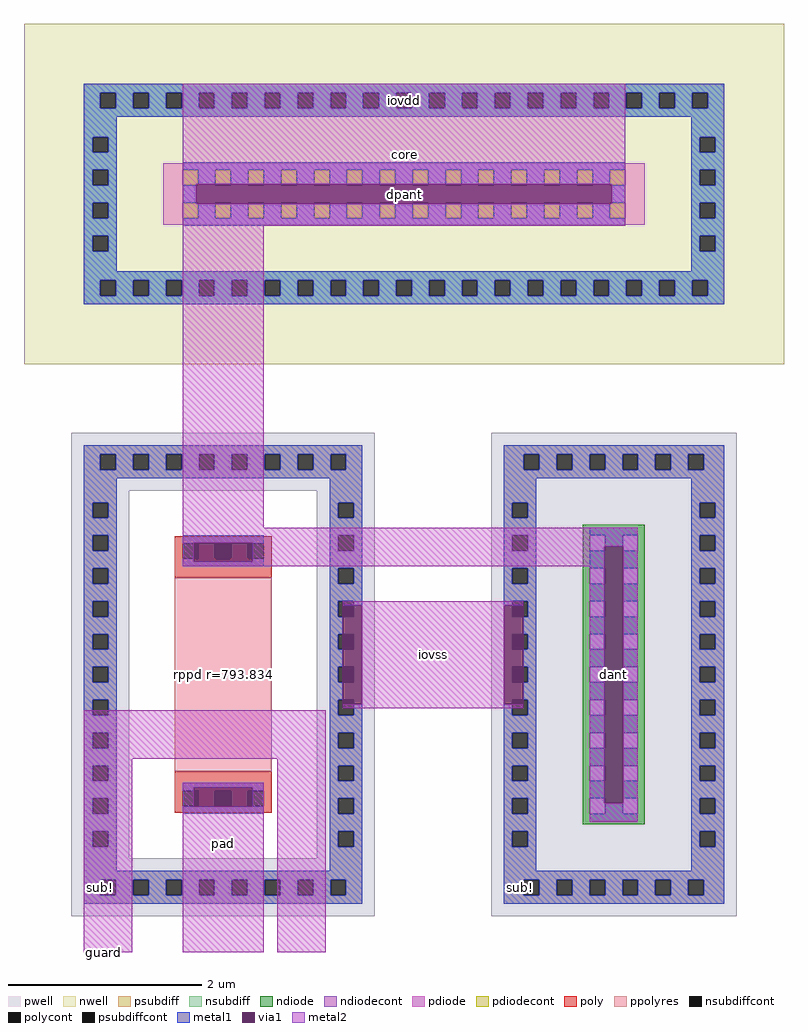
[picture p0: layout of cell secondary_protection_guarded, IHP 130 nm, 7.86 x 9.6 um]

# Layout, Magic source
magic
tech ihp-sg13g2
magscale 1 2
<< nwell >>
rect -124 1116 1448 1820
<< pwell >>
rect -26 854 602 974
rect -26 94 94 854
rect 482 94 602 854
rect -26 -26 602 94
rect 842 -26 1350 974
<< psubdiff >>
rect 0 930 576 948
rect 0 898 34 930
rect 66 898 102 930
rect 134 898 170 930
rect 202 898 238 930
rect 270 898 306 930
rect 338 898 374 930
rect 406 898 442 930
rect 474 898 510 930
rect 542 898 576 930
rect 0 880 576 898
rect 0 830 68 880
rect 0 798 18 830
rect 50 798 68 830
rect 0 762 68 798
rect 0 730 18 762
rect 50 730 68 762
rect 508 830 576 880
rect 508 798 526 830
rect 558 798 576 830
rect 508 762 576 798
rect 0 694 68 730
rect 0 662 18 694
rect 50 662 68 694
rect 0 626 68 662
rect 0 594 18 626
rect 50 594 68 626
rect 0 558 68 594
rect 0 526 18 558
rect 50 526 68 558
rect 0 490 68 526
rect 0 458 18 490
rect 50 458 68 490
rect 0 422 68 458
rect 0 390 18 422
rect 50 390 68 422
rect 0 354 68 390
rect 0 322 18 354
rect 50 322 68 354
rect 0 286 68 322
rect 0 254 18 286
rect 50 254 68 286
rect 0 218 68 254
rect 0 186 18 218
rect 50 186 68 218
rect 508 730 526 762
rect 558 730 576 762
rect 508 694 576 730
rect 508 662 526 694
rect 558 662 576 694
rect 508 626 576 662
rect 508 594 526 626
rect 558 594 576 626
rect 508 558 576 594
rect 508 526 526 558
rect 558 526 576 558
rect 508 490 576 526
rect 508 458 526 490
rect 558 458 576 490
rect 508 422 576 458
rect 508 390 526 422
rect 558 390 576 422
rect 508 354 576 390
rect 508 322 526 354
rect 558 322 576 354
rect 508 286 576 322
rect 508 254 526 286
rect 558 254 576 286
rect 508 218 576 254
rect 0 150 68 186
rect 0 118 18 150
rect 50 118 68 150
rect 0 68 68 118
rect 508 186 526 218
rect 558 186 576 218
rect 508 150 576 186
rect 508 118 526 150
rect 558 118 576 150
rect 508 68 576 118
rect 0 50 576 68
rect 0 18 34 50
rect 66 18 102 50
rect 134 18 170 50
rect 202 18 238 50
rect 270 18 306 50
rect 338 18 374 50
rect 406 18 442 50
rect 474 18 510 50
rect 542 18 576 50
rect 0 0 576 18
rect 868 930 1324 948
rect 868 898 910 930
rect 942 898 978 930
rect 1010 898 1046 930
rect 1078 898 1114 930
rect 1146 898 1182 930
rect 1214 898 1250 930
rect 1282 898 1324 930
rect 868 880 1324 898
rect 868 830 936 880
rect 868 798 886 830
rect 918 798 936 830
rect 868 762 936 798
rect 1256 830 1324 880
rect 1256 798 1274 830
rect 1306 798 1324 830
rect 868 730 886 762
rect 918 730 936 762
rect 868 694 936 730
rect 868 662 886 694
rect 918 662 936 694
rect 868 626 936 662
rect 868 594 886 626
rect 918 594 936 626
rect 868 558 936 594
rect 868 526 886 558
rect 918 526 936 558
rect 868 490 936 526
rect 868 458 886 490
rect 918 458 936 490
rect 868 422 936 458
rect 868 390 886 422
rect 918 390 936 422
rect 868 354 936 390
rect 868 322 886 354
rect 918 322 936 354
rect 868 286 936 322
rect 868 254 886 286
rect 918 254 936 286
rect 868 218 936 254
rect 868 186 886 218
rect 918 186 936 218
rect 868 150 936 186
rect 1256 762 1324 798
rect 1256 730 1274 762
rect 1306 730 1324 762
rect 1256 694 1324 730
rect 1256 662 1274 694
rect 1306 662 1324 694
rect 1256 626 1324 662
rect 1256 594 1274 626
rect 1306 594 1324 626
rect 1256 558 1324 594
rect 1256 526 1274 558
rect 1306 526 1324 558
rect 1256 490 1324 526
rect 1256 458 1274 490
rect 1306 458 1324 490
rect 1256 422 1324 458
rect 1256 390 1274 422
rect 1306 390 1324 422
rect 1256 354 1324 390
rect 1256 322 1274 354
rect 1306 322 1324 354
rect 1256 286 1324 322
rect 1256 254 1274 286
rect 1306 254 1324 286
rect 1256 218 1324 254
rect 1256 186 1274 218
rect 1306 186 1324 218
rect 868 118 886 150
rect 918 118 936 150
rect 868 68 936 118
rect 1256 150 1324 186
rect 1256 118 1274 150
rect 1306 118 1324 150
rect 1256 68 1324 118
rect 868 50 1324 68
rect 868 18 910 50
rect 942 18 978 50
rect 1010 18 1046 50
rect 1078 18 1114 50
rect 1146 18 1182 50
rect 1214 18 1250 50
rect 1282 18 1324 50
rect 868 0 1324 18
<< nsubdiff >>
rect 0 1678 1324 1696
rect 0 1646 34 1678
rect 66 1646 102 1678
rect 134 1646 170 1678
rect 202 1646 238 1678
rect 270 1646 306 1678
rect 338 1646 374 1678
rect 406 1646 442 1678
rect 474 1646 510 1678
rect 542 1646 578 1678
rect 610 1646 646 1678
rect 678 1646 714 1678
rect 746 1646 782 1678
rect 814 1646 850 1678
rect 882 1646 918 1678
rect 950 1646 986 1678
rect 1018 1646 1054 1678
rect 1086 1646 1122 1678
rect 1154 1646 1190 1678
rect 1222 1646 1258 1678
rect 1290 1646 1324 1678
rect 0 1628 1324 1646
rect 0 1586 68 1628
rect 0 1554 18 1586
rect 50 1554 68 1586
rect 0 1518 68 1554
rect 1256 1586 1324 1628
rect 1256 1554 1274 1586
rect 1306 1554 1324 1586
rect 0 1486 18 1518
rect 50 1486 68 1518
rect 0 1450 68 1486
rect 0 1418 18 1450
rect 50 1418 68 1450
rect 0 1382 68 1418
rect 1256 1518 1324 1554
rect 1256 1486 1274 1518
rect 1306 1486 1324 1518
rect 1256 1450 1324 1486
rect 1256 1418 1274 1450
rect 1306 1418 1324 1450
rect 0 1350 18 1382
rect 50 1350 68 1382
rect 0 1308 68 1350
rect 1256 1382 1324 1418
rect 1256 1350 1274 1382
rect 1306 1350 1324 1382
rect 1256 1308 1324 1350
rect 0 1290 1324 1308
rect 0 1258 34 1290
rect 66 1258 102 1290
rect 134 1258 170 1290
rect 202 1258 238 1290
rect 270 1258 306 1290
rect 338 1258 374 1290
rect 406 1258 442 1290
rect 474 1258 510 1290
rect 542 1258 578 1290
rect 610 1258 646 1290
rect 678 1258 714 1290
rect 746 1258 782 1290
rect 814 1258 850 1290
rect 882 1258 918 1290
rect 950 1258 986 1290
rect 1018 1258 1054 1290
rect 1086 1258 1122 1290
rect 1154 1258 1190 1290
rect 1222 1258 1258 1290
rect 1290 1258 1324 1290
rect 0 1240 1324 1258
<< psubdiffcont >>
rect 34 898 66 930
rect 102 898 134 930
rect 170 898 202 930
rect 238 898 270 930
rect 306 898 338 930
rect 374 898 406 930
rect 442 898 474 930
rect 510 898 542 930
rect 18 798 50 830
rect 18 730 50 762
rect 526 798 558 830
rect 18 662 50 694
rect 18 594 50 626
rect 18 526 50 558
rect 18 458 50 490
rect 18 390 50 422
rect 18 322 50 354
rect 18 254 50 286
rect 18 186 50 218
rect 526 730 558 762
rect 526 662 558 694
rect 526 594 558 626
rect 526 526 558 558
rect 526 458 558 490
rect 526 390 558 422
rect 526 322 558 354
rect 526 254 558 286
rect 18 118 50 150
rect 526 186 558 218
rect 526 118 558 150
rect 34 18 66 50
rect 102 18 134 50
rect 170 18 202 50
rect 238 18 270 50
rect 306 18 338 50
rect 374 18 406 50
rect 442 18 474 50
rect 510 18 542 50
rect 910 898 942 930
rect 978 898 1010 930
rect 1046 898 1078 930
rect 1114 898 1146 930
rect 1182 898 1214 930
rect 1250 898 1282 930
rect 886 798 918 830
rect 1274 798 1306 830
rect 886 730 918 762
rect 886 662 918 694
rect 886 594 918 626
rect 886 526 918 558
rect 886 458 918 490
rect 886 390 918 422
rect 886 322 918 354
rect 886 254 918 286
rect 886 186 918 218
rect 1274 730 1306 762
rect 1274 662 1306 694
rect 1274 594 1306 626
rect 1274 526 1306 558
rect 1274 458 1306 490
rect 1274 390 1306 422
rect 1274 322 1306 354
rect 1274 254 1306 286
rect 1274 186 1306 218
rect 886 118 918 150
rect 1274 118 1306 150
rect 910 18 942 50
rect 978 18 1010 50
rect 1046 18 1078 50
rect 1114 18 1146 50
rect 1182 18 1214 50
rect 1250 18 1282 50
<< nsubdiffcont >>
rect 34 1646 66 1678
rect 102 1646 134 1678
rect 170 1646 202 1678
rect 238 1646 270 1678
rect 306 1646 338 1678
rect 374 1646 406 1678
rect 442 1646 474 1678
rect 510 1646 542 1678
rect 578 1646 610 1678
rect 646 1646 678 1678
rect 714 1646 746 1678
rect 782 1646 814 1678
rect 850 1646 882 1678
rect 918 1646 950 1678
rect 986 1646 1018 1678
rect 1054 1646 1086 1678
rect 1122 1646 1154 1678
rect 1190 1646 1222 1678
rect 1258 1646 1290 1678
rect 18 1554 50 1586
rect 1274 1554 1306 1586
rect 18 1486 50 1518
rect 18 1418 50 1450
rect 1274 1486 1306 1518
rect 1274 1418 1306 1450
rect 18 1350 50 1382
rect 1274 1350 1306 1382
rect 34 1258 66 1290
rect 102 1258 134 1290
rect 170 1258 202 1290
rect 238 1258 270 1290
rect 306 1258 338 1290
rect 374 1258 406 1290
rect 442 1258 474 1290
rect 510 1258 542 1290
rect 578 1258 610 1290
rect 646 1258 678 1290
rect 714 1258 746 1290
rect 782 1258 814 1290
rect 850 1258 882 1290
rect 918 1258 950 1290
rect 986 1258 1018 1290
rect 1054 1258 1086 1290
rect 1122 1258 1154 1290
rect 1190 1258 1222 1290
rect 1258 1258 1290 1290
<< poly >>
rect 188 746 388 760
rect 188 714 204 746
rect 236 714 272 746
rect 304 714 340 746
rect 372 714 388 746
rect 188 674 388 714
rect 188 234 388 274
rect 188 202 204 234
rect 236 202 272 234
rect 304 202 340 234
rect 372 202 388 234
rect 188 188 388 202
<< polycont >>
rect 204 714 236 746
rect 272 714 304 746
rect 340 714 372 746
rect 204 202 236 234
rect 272 202 304 234
rect 340 202 372 234
<< ppolyres >>
rect 188 274 388 674
<< pdiode >>
rect 164 1518 1160 1532
rect 164 1486 204 1518
rect 236 1486 272 1518
rect 304 1486 340 1518
rect 372 1486 408 1518
rect 440 1486 476 1518
rect 508 1486 544 1518
rect 576 1486 612 1518
rect 644 1486 680 1518
rect 712 1486 748 1518
rect 780 1486 816 1518
rect 848 1486 884 1518
rect 916 1486 952 1518
rect 984 1486 1020 1518
rect 1052 1486 1088 1518
rect 1120 1486 1160 1518
rect 164 1450 1160 1486
rect 164 1418 204 1450
rect 236 1418 272 1450
rect 304 1418 340 1450
rect 372 1418 408 1450
rect 440 1418 476 1450
rect 508 1418 544 1450
rect 576 1418 612 1450
rect 644 1418 680 1450
rect 712 1418 748 1450
rect 780 1418 816 1450
rect 848 1418 884 1450
rect 916 1418 952 1450
rect 984 1418 1020 1450
rect 1052 1418 1088 1450
rect 1120 1418 1160 1450
rect 164 1404 1160 1418
<< ndiode >>
rect 1032 762 1160 784
rect 1032 730 1046 762
rect 1078 730 1114 762
rect 1146 730 1160 762
rect 1032 694 1160 730
rect 1032 662 1046 694
rect 1078 662 1114 694
rect 1146 662 1160 694
rect 1032 626 1160 662
rect 1032 594 1046 626
rect 1078 594 1114 626
rect 1146 594 1160 626
rect 1032 558 1160 594
rect 1032 526 1046 558
rect 1078 526 1114 558
rect 1146 526 1160 558
rect 1032 490 1160 526
rect 1032 458 1046 490
rect 1078 458 1114 490
rect 1146 458 1160 490
rect 1032 422 1160 458
rect 1032 390 1046 422
rect 1078 390 1114 422
rect 1146 390 1160 422
rect 1032 354 1160 390
rect 1032 322 1046 354
rect 1078 322 1114 354
rect 1146 322 1160 354
rect 1032 286 1160 322
rect 1032 254 1046 286
rect 1078 254 1114 286
rect 1146 254 1160 286
rect 1032 218 1160 254
rect 1032 186 1046 218
rect 1078 186 1114 218
rect 1146 186 1160 218
rect 1032 164 1160 186
<< pdiodecont >>
rect 204 1486 236 1518
rect 272 1486 304 1518
rect 340 1486 372 1518
rect 408 1486 440 1518
rect 476 1486 508 1518
rect 544 1486 576 1518
rect 612 1486 644 1518
rect 680 1486 712 1518
rect 748 1486 780 1518
rect 816 1486 848 1518
rect 884 1486 916 1518
rect 952 1486 984 1518
rect 1020 1486 1052 1518
rect 1088 1486 1120 1518
rect 204 1418 236 1450
rect 272 1418 304 1450
rect 340 1418 372 1450
rect 408 1418 440 1450
rect 476 1418 508 1450
rect 544 1418 576 1450
rect 612 1418 644 1450
rect 680 1418 712 1450
rect 748 1418 780 1450
rect 816 1418 848 1450
rect 884 1418 916 1450
rect 952 1418 984 1450
rect 1020 1418 1052 1450
rect 1088 1418 1120 1450
<< ndiodecont >>
rect 1046 730 1078 762
rect 1114 730 1146 762
rect 1046 662 1078 694
rect 1114 662 1146 694
rect 1046 594 1078 626
rect 1114 594 1146 626
rect 1046 526 1078 558
rect 1114 526 1146 558
rect 1046 458 1078 490
rect 1114 458 1146 490
rect 1046 390 1078 422
rect 1114 390 1146 422
rect 1046 322 1078 354
rect 1114 322 1146 354
rect 1046 254 1078 286
rect 1114 254 1146 286
rect 1046 186 1078 218
rect 1114 186 1146 218
<< metal1 >>
rect 0 1678 1324 1696
rect 0 1646 34 1678
rect 66 1646 102 1678
rect 134 1646 170 1678
rect 202 1646 238 1678
rect 270 1646 306 1678
rect 338 1646 374 1678
rect 406 1646 442 1678
rect 474 1646 510 1678
rect 542 1646 578 1678
rect 610 1646 646 1678
rect 678 1646 714 1678
rect 746 1646 782 1678
rect 814 1646 850 1678
rect 882 1646 918 1678
rect 950 1646 986 1678
rect 1018 1646 1054 1678
rect 1086 1646 1122 1678
rect 1154 1646 1190 1678
rect 1222 1646 1258 1678
rect 1290 1646 1324 1678
rect 0 1628 1324 1646
rect 0 1586 68 1628
rect 0 1554 18 1586
rect 50 1554 68 1586
rect 0 1518 68 1554
rect 1256 1586 1324 1628
rect 1256 1554 1274 1586
rect 1306 1554 1324 1586
rect 0 1486 18 1518
rect 50 1486 68 1518
rect 0 1450 68 1486
rect 0 1418 18 1450
rect 50 1418 68 1450
rect 0 1382 68 1418
rect 204 1518 1120 1534
rect 236 1488 272 1518
rect 304 1488 340 1518
rect 372 1488 408 1518
rect 440 1488 476 1518
rect 508 1488 544 1518
rect 576 1488 612 1518
rect 644 1488 680 1518
rect 712 1488 748 1518
rect 780 1488 816 1518
rect 848 1488 884 1518
rect 916 1488 952 1518
rect 984 1488 1020 1518
rect 1052 1488 1088 1518
rect 204 1450 232 1486
rect 1092 1450 1120 1486
rect 236 1418 272 1448
rect 304 1418 340 1448
rect 372 1418 408 1448
rect 440 1418 476 1448
rect 508 1418 544 1448
rect 576 1418 612 1448
rect 644 1418 680 1448
rect 712 1418 748 1448
rect 780 1418 816 1448
rect 848 1418 884 1448
rect 916 1418 952 1448
rect 984 1418 1020 1448
rect 1052 1418 1088 1448
rect 204 1402 1120 1418
rect 1256 1518 1324 1554
rect 1256 1486 1274 1518
rect 1306 1486 1324 1518
rect 1256 1450 1324 1486
rect 1256 1418 1274 1450
rect 1306 1418 1324 1450
rect 0 1350 18 1382
rect 50 1350 68 1382
rect 0 1308 68 1350
rect 1256 1382 1324 1418
rect 1256 1350 1274 1382
rect 1306 1350 1324 1382
rect 1256 1308 1324 1350
rect 0 1290 1324 1308
rect 0 1258 34 1290
rect 66 1258 102 1290
rect 134 1258 170 1290
rect 202 1258 238 1290
rect 270 1258 306 1290
rect 338 1258 374 1290
rect 406 1258 442 1290
rect 474 1258 510 1290
rect 542 1258 578 1290
rect 610 1258 646 1290
rect 678 1258 714 1290
rect 746 1258 782 1290
rect 814 1258 850 1290
rect 882 1258 918 1290
rect 950 1258 986 1290
rect 1018 1258 1054 1290
rect 1086 1258 1122 1290
rect 1154 1258 1190 1290
rect 1222 1258 1258 1290
rect 1290 1258 1324 1290
rect 0 1240 1324 1258
rect 0 930 576 948
rect 0 898 34 930
rect 66 898 102 930
rect 134 898 170 930
rect 202 898 238 930
rect 270 898 306 930
rect 338 898 374 930
rect 406 898 442 930
rect 474 898 510 930
rect 542 898 576 930
rect 0 880 576 898
rect 0 830 68 880
rect 0 798 18 830
rect 50 798 68 830
rect 0 762 68 798
rect 508 830 576 880
rect 508 798 526 830
rect 558 798 576 830
rect 508 762 576 798
rect 0 730 18 762
rect 50 730 68 762
rect 0 694 68 730
rect 204 747 372 762
rect 204 746 227 747
rect 349 746 372 747
rect 204 707 227 714
rect 349 707 372 714
rect 204 698 372 707
rect 508 730 526 762
rect 558 730 576 762
rect 0 662 18 694
rect 50 662 68 694
rect 0 626 68 662
rect 0 594 18 626
rect 50 594 68 626
rect 0 558 68 594
rect 0 526 18 558
rect 50 526 68 558
rect 0 490 68 526
rect 0 458 18 490
rect 50 458 68 490
rect 0 422 68 458
rect 0 390 18 422
rect 50 390 68 422
rect 0 354 68 390
rect 0 322 18 354
rect 50 322 68 354
rect 0 286 68 322
rect 0 254 18 286
rect 50 254 68 286
rect 0 218 68 254
rect 508 694 576 730
rect 508 662 526 694
rect 558 662 576 694
rect 508 626 576 662
rect 508 594 526 626
rect 558 617 576 626
rect 508 558 535 594
rect 508 526 526 558
rect 508 490 535 526
rect 508 458 526 490
rect 508 422 535 458
rect 508 390 526 422
rect 575 413 576 617
rect 558 390 576 413
rect 508 354 576 390
rect 508 322 526 354
rect 558 322 576 354
rect 508 286 576 322
rect 508 254 526 286
rect 558 254 576 286
rect 0 186 18 218
rect 50 186 68 218
rect 204 241 372 250
rect 204 234 227 241
rect 349 234 372 241
rect 204 201 227 202
rect 349 201 372 202
rect 204 186 372 201
rect 508 218 576 254
rect 508 186 526 218
rect 558 186 576 218
rect 0 150 68 186
rect 0 118 18 150
rect 50 118 68 150
rect 0 68 68 118
rect 508 150 576 186
rect 508 118 526 150
rect 558 118 576 150
rect 508 68 576 118
rect 0 50 576 68
rect 0 18 34 50
rect 66 18 102 50
rect 134 18 170 50
rect 202 18 238 50
rect 270 18 306 50
rect 338 18 374 50
rect 406 18 442 50
rect 474 18 510 50
rect 542 18 576 50
rect 0 0 576 18
rect 868 930 1324 948
rect 868 898 910 930
rect 942 898 978 930
rect 1010 898 1046 930
rect 1078 898 1114 930
rect 1146 898 1182 930
rect 1214 898 1250 930
rect 1282 898 1324 930
rect 868 880 1324 898
rect 868 830 936 880
rect 868 798 886 830
rect 918 798 936 830
rect 868 762 936 798
rect 1256 830 1324 880
rect 1256 798 1274 830
rect 1306 798 1324 830
rect 868 730 886 762
rect 918 730 936 762
rect 868 694 936 730
rect 868 662 886 694
rect 918 662 936 694
rect 868 626 936 662
rect 868 617 886 626
rect 868 413 869 617
rect 918 594 936 626
rect 909 558 936 594
rect 918 526 936 558
rect 909 490 936 526
rect 918 458 936 490
rect 909 422 936 458
rect 868 390 886 413
rect 918 390 936 422
rect 868 354 936 390
rect 868 322 886 354
rect 918 322 936 354
rect 868 286 936 322
rect 868 254 886 286
rect 918 254 936 286
rect 868 218 936 254
rect 868 186 886 218
rect 918 186 936 218
rect 868 150 936 186
rect 1046 762 1146 778
rect 1078 740 1114 762
rect 1046 694 1076 730
rect 1116 694 1146 730
rect 1046 626 1076 662
rect 1116 626 1146 662
rect 1046 558 1076 594
rect 1116 558 1146 594
rect 1046 490 1076 526
rect 1116 490 1146 526
rect 1046 422 1076 458
rect 1116 422 1146 458
rect 1046 354 1076 390
rect 1116 354 1146 390
rect 1046 286 1076 322
rect 1116 286 1146 322
rect 1046 218 1076 254
rect 1116 218 1146 254
rect 1078 186 1114 208
rect 1046 170 1146 186
rect 1256 762 1324 798
rect 1256 730 1274 762
rect 1306 730 1324 762
rect 1256 694 1324 730
rect 1256 662 1274 694
rect 1306 662 1324 694
rect 1256 626 1324 662
rect 1256 594 1274 626
rect 1306 594 1324 626
rect 1256 558 1324 594
rect 1256 526 1274 558
rect 1306 526 1324 558
rect 1256 490 1324 526
rect 1256 458 1274 490
rect 1306 458 1324 490
rect 1256 422 1324 458
rect 1256 390 1274 422
rect 1306 390 1324 422
rect 1256 354 1324 390
rect 1256 322 1274 354
rect 1306 322 1324 354
rect 1256 286 1324 322
rect 1256 254 1274 286
rect 1306 254 1324 286
rect 1256 218 1324 254
rect 1256 186 1274 218
rect 1306 186 1324 218
rect 868 118 886 150
rect 918 118 936 150
rect 868 68 936 118
rect 1256 150 1324 186
rect 1256 118 1274 150
rect 1306 118 1324 150
rect 1256 68 1324 118
rect 868 50 1324 68
rect 868 18 910 50
rect 942 18 978 50
rect 1010 18 1046 50
rect 1078 18 1114 50
rect 1146 18 1182 50
rect 1214 18 1250 50
rect 1282 18 1324 50
rect 868 0 1324 18
<< via1 >>
rect 232 1486 236 1488
rect 236 1486 272 1488
rect 272 1486 304 1488
rect 304 1486 340 1488
rect 340 1486 372 1488
rect 372 1486 408 1488
rect 408 1486 440 1488
rect 440 1486 476 1488
rect 476 1486 508 1488
rect 508 1486 544 1488
rect 544 1486 576 1488
rect 576 1486 612 1488
rect 612 1486 644 1488
rect 644 1486 680 1488
rect 680 1486 712 1488
rect 712 1486 748 1488
rect 748 1486 780 1488
rect 780 1486 816 1488
rect 816 1486 848 1488
rect 848 1486 884 1488
rect 884 1486 916 1488
rect 916 1486 952 1488
rect 952 1486 984 1488
rect 984 1486 1020 1488
rect 1020 1486 1052 1488
rect 1052 1486 1088 1488
rect 1088 1486 1092 1488
rect 232 1450 1092 1486
rect 232 1448 236 1450
rect 236 1448 272 1450
rect 272 1448 304 1450
rect 304 1448 340 1450
rect 340 1448 372 1450
rect 372 1448 408 1450
rect 408 1448 440 1450
rect 440 1448 476 1450
rect 476 1448 508 1450
rect 508 1448 544 1450
rect 544 1448 576 1450
rect 576 1448 612 1450
rect 612 1448 644 1450
rect 644 1448 680 1450
rect 680 1448 712 1450
rect 712 1448 748 1450
rect 748 1448 780 1450
rect 780 1448 816 1450
rect 816 1448 848 1450
rect 848 1448 884 1450
rect 884 1448 916 1450
rect 916 1448 952 1450
rect 952 1448 984 1450
rect 984 1448 1020 1450
rect 1020 1448 1052 1450
rect 1052 1448 1088 1450
rect 1088 1448 1092 1450
rect 227 746 349 747
rect 227 714 236 746
rect 236 714 272 746
rect 272 714 304 746
rect 304 714 340 746
rect 340 714 349 746
rect 227 707 349 714
rect 535 594 558 617
rect 558 594 575 617
rect 535 558 575 594
rect 535 526 558 558
rect 558 526 575 558
rect 535 490 575 526
rect 535 458 558 490
rect 558 458 575 490
rect 535 422 575 458
rect 535 413 558 422
rect 558 413 575 422
rect 227 234 349 241
rect 227 202 236 234
rect 236 202 272 234
rect 272 202 304 234
rect 304 202 340 234
rect 340 202 349 234
rect 227 201 349 202
rect 869 594 886 617
rect 886 594 909 617
rect 869 558 909 594
rect 869 526 886 558
rect 886 526 909 558
rect 869 490 909 526
rect 869 458 886 490
rect 886 458 909 490
rect 869 422 909 458
rect 869 413 886 422
rect 886 413 909 422
rect 1076 730 1078 740
rect 1078 730 1114 740
rect 1114 730 1116 740
rect 1076 694 1116 730
rect 1076 662 1078 694
rect 1078 662 1114 694
rect 1114 662 1116 694
rect 1076 626 1116 662
rect 1076 594 1078 626
rect 1078 594 1114 626
rect 1114 594 1116 626
rect 1076 558 1116 594
rect 1076 526 1078 558
rect 1078 526 1114 558
rect 1114 526 1116 558
rect 1076 490 1116 526
rect 1076 458 1078 490
rect 1078 458 1114 490
rect 1114 458 1116 490
rect 1076 422 1116 458
rect 1076 390 1078 422
rect 1078 390 1114 422
rect 1114 390 1116 422
rect 1076 354 1116 390
rect 1076 322 1078 354
rect 1078 322 1114 354
rect 1114 322 1116 354
rect 1076 286 1116 322
rect 1076 254 1078 286
rect 1078 254 1114 286
rect 1114 254 1116 286
rect 1076 218 1116 254
rect 1076 208 1078 218
rect 1078 208 1114 218
rect 1114 208 1116 218
<< metal2 >>
rect 204 1488 1120 1696
rect 204 1448 232 1488
rect 1092 1448 1120 1488
rect 204 1402 1120 1448
rect 204 778 372 1402
rect 204 747 1146 778
rect 204 707 227 747
rect 349 740 1146 747
rect 349 707 1076 740
rect 204 698 1076 707
rect 535 617 909 626
rect 575 413 869 617
rect 535 404 909 413
rect 0 300 500 400
rect 0 -100 100 300
rect 204 241 372 250
rect 204 201 227 241
rect 349 201 372 241
rect 204 -100 372 201
rect 400 -100 500 300
rect 1046 208 1076 698
rect 1116 208 1146 740
rect 1046 170 1146 208
<< labels >>
rlabel comment s 902 34 902 34 4 sub!
rlabel comment s 34 34 34 34 4 sub!
rlabel comment s 662 1468 662 1468 4 dpant
rlabel comment s 288 474 288 474 4 rppd r=793.834
rlabel comment s 1096 474 1096 474 4 dant
flabel metal1 s 0 1628 1324 1696 0 FreeSans 800 0 0 0 iovdd
port 1 nsew
rlabel metal2 s 204 1402 1120 1696 4 core
port 4 nsew
rlabel metal2 s 204 0 372 250 4 pad
port 5 nsew
flabel metal2 s 535 404 909 626 0 FreeSans 800 0 0 0 iovss
port 3 nsew
rlabel metal2 40 -100 40 -100 0 guard
port 6 nsew
<< end >>
